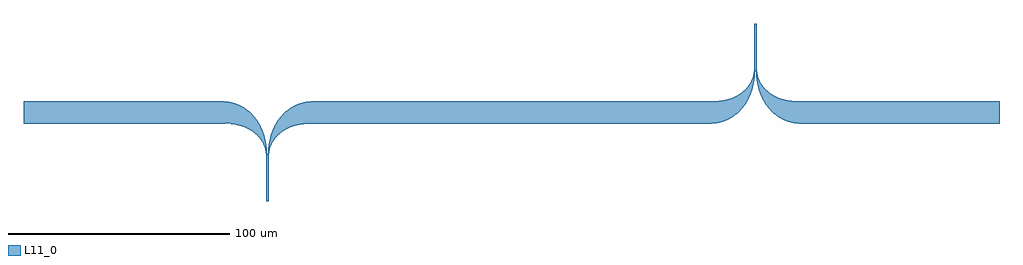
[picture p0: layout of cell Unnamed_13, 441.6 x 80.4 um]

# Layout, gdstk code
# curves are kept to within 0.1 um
from math import pi, radians
import gdstk
lib = gdstk.Library(unit=1e-6, precision=1e-09)
def R(c, l, rs):  # rectangles x0, y0, x1, y1
    for r in rs: c.add(gdstk.rectangle(r[:2], r[2:], *l))
def P(c, l, *ps):  # polygons
    for p in ps: c.add(gdstk.Polygon(p, *l))
L11_0 = (11, 0)

unnamed_17 = lib.new_cell('Unnamed_17')
P(unnamed_17, L11_0, [(19.8,-20),(19.405,-16.775),(18.261,-13.758),(16.482,-11.123),(14.048,-8.838),(11.097,-7.073),(7.828,-5.896),(4.226,-5.23),(0,-5),(0,5),(1.896,4.9),(4.077,4.535),(6.191,3.91),(8.204,3.043),(10.088,1.957),(11.822,0.677),(13.387,-0.767),(14.774,-2.342),(16.138,-4.266),(17.27,-6.279),(18.183,-8.344),(18.971,-10.694),(19.638,-13.564),(20.054,-16.667),(20.2,-20)])

unnamed_18 = lib.new_cell('Unnamed_18')
P(unnamed_18, L11_0, [(0,-0.2),(0,0.2),(19.8,0.2),(19.8,0.4),(20.2,0.4),(20.2,-0.2)])

unnamed_16 = lib.new_cell('Unnamed_16')
R(unnamed_16, L11_0, [(0,-5,90,5)])

unnamed_14 = lib.new_cell('Unnamed_14')
unnamed_14.add(gdstk.Reference(unnamed_17, (90,0)))
unnamed_14.add(gdstk.Reference(unnamed_18, (110,-20), rotation=3*pi/2))
unnamed_14.add(gdstk.Reference(unnamed_16, (0,0)))

unnamed_15 = lib.new_cell('Unnamed_15')
unnamed_15.add(gdstk.Reference(unnamed_14, (220.8,0), rotation=pi, x_reflection=True))
unnamed_15.add(gdstk.Reference(unnamed_14, (0,0)))

unnamed_13 = lib.new_cell('Unnamed_13')
unnamed_13.add(gdstk.Reference(unnamed_15, (441.6,0), rotation=pi))
unnamed_13.add(gdstk.Reference(unnamed_15, (0,0)))

lib.write_gds('Unnamed_13.gds')
